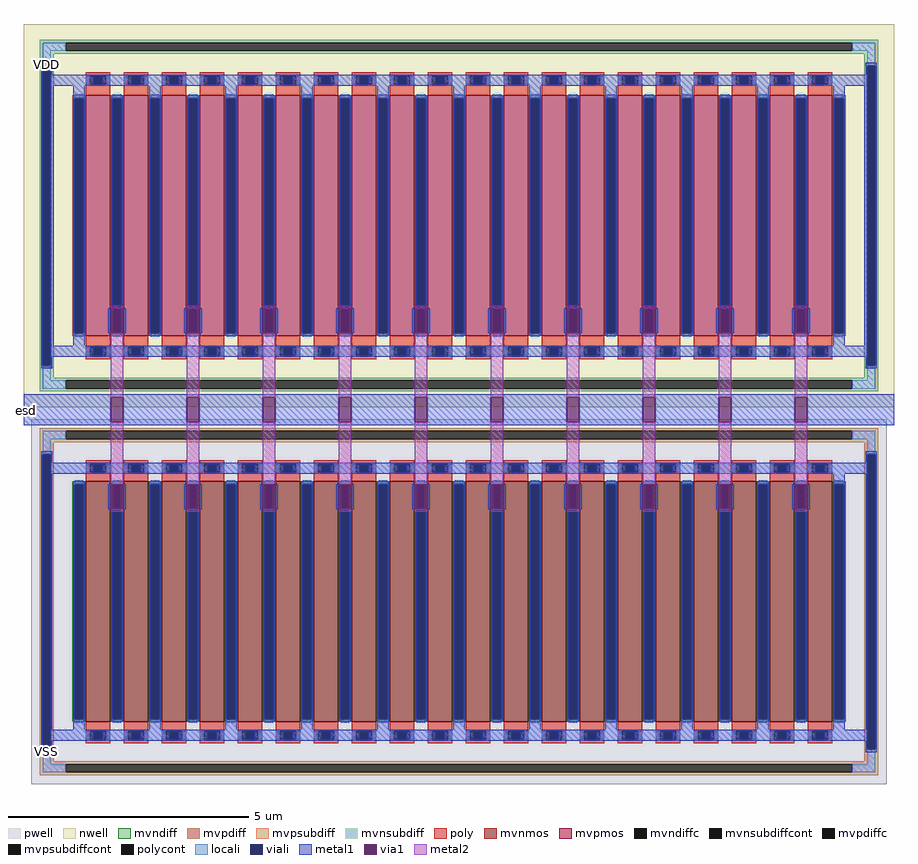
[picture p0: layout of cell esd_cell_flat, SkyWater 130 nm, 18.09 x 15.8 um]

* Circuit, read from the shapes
.subckt esd_cell_flat esd VDD VSS
XM1 esd VSS VSS VSS sky130_fd_pr__nfet_g5v0d10v5 w=5 l=0.5 m=20
XM2 esd VDD VDD VDD sky130_fd_pr__pfet_g5v0d10v5 w=5 l=0.5 m=20
.ends

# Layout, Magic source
magic
tech sky130A
magscale 1 2
<< nwell >>
rect -65 1501 3553 3095
<< pwell >>
rect -35 -65 3523 1451
<< mvnmos >>
rect 193 193 293 1193
rect 351 193 451 1193
rect 509 193 609 1193
rect 667 193 767 1193
rect 825 193 925 1193
rect 983 193 1083 1193
rect 1141 193 1241 1193
rect 1299 193 1399 1193
rect 1457 193 1557 1193
rect 1615 193 1715 1193
rect 1773 193 1873 1193
rect 1931 193 2031 1193
rect 2089 193 2189 1193
rect 2247 193 2347 1193
rect 2405 193 2505 1193
rect 2563 193 2663 1193
rect 2721 193 2821 1193
rect 2879 193 2979 1193
rect 3037 193 3137 1193
rect 3195 193 3295 1193
<< mvpmos >>
rect 193 1798 293 2798
rect 351 1798 451 2798
rect 509 1798 609 2798
rect 667 1798 767 2798
rect 825 1798 925 2798
rect 983 1798 1083 2798
rect 1141 1798 1241 2798
rect 1299 1798 1399 2798
rect 1457 1798 1557 2798
rect 1615 1798 1715 2798
rect 1773 1798 1873 2798
rect 1931 1798 2031 2798
rect 2089 1798 2189 2798
rect 2247 1798 2347 2798
rect 2405 1798 2505 2798
rect 2563 1798 2663 2798
rect 2721 1798 2821 2798
rect 2879 1798 2979 2798
rect 3037 1798 3137 2798
rect 3195 1798 3295 2798
<< mvndiff >>
rect 135 1181 193 1193
rect 135 205 147 1181
rect 181 205 193 1181
rect 135 193 193 205
rect 293 1181 351 1193
rect 293 205 305 1181
rect 339 205 351 1181
rect 293 193 351 205
rect 451 1181 509 1193
rect 451 205 463 1181
rect 497 205 509 1181
rect 451 193 509 205
rect 609 1181 667 1193
rect 609 205 621 1181
rect 655 205 667 1181
rect 609 193 667 205
rect 767 1181 825 1193
rect 767 205 779 1181
rect 813 205 825 1181
rect 767 193 825 205
rect 925 1181 983 1193
rect 925 205 937 1181
rect 971 205 983 1181
rect 925 193 983 205
rect 1083 1181 1141 1193
rect 1083 205 1095 1181
rect 1129 205 1141 1181
rect 1083 193 1141 205
rect 1241 1181 1299 1193
rect 1241 205 1253 1181
rect 1287 205 1299 1181
rect 1241 193 1299 205
rect 1399 1181 1457 1193
rect 1399 205 1411 1181
rect 1445 205 1457 1181
rect 1399 193 1457 205
rect 1557 1181 1615 1193
rect 1557 205 1569 1181
rect 1603 205 1615 1181
rect 1557 193 1615 205
rect 1715 1181 1773 1193
rect 1715 205 1727 1181
rect 1761 205 1773 1181
rect 1715 193 1773 205
rect 1873 1181 1931 1193
rect 1873 205 1885 1181
rect 1919 205 1931 1181
rect 1873 193 1931 205
rect 2031 1181 2089 1193
rect 2031 205 2043 1181
rect 2077 205 2089 1181
rect 2031 193 2089 205
rect 2189 1181 2247 1193
rect 2189 205 2201 1181
rect 2235 205 2247 1181
rect 2189 193 2247 205
rect 2347 1181 2405 1193
rect 2347 205 2359 1181
rect 2393 205 2405 1181
rect 2347 193 2405 205
rect 2505 1181 2563 1193
rect 2505 205 2517 1181
rect 2551 205 2563 1181
rect 2505 193 2563 205
rect 2663 1181 2721 1193
rect 2663 205 2675 1181
rect 2709 205 2721 1181
rect 2663 193 2721 205
rect 2821 1181 2879 1193
rect 2821 205 2833 1181
rect 2867 205 2879 1181
rect 2821 193 2879 205
rect 2979 1181 3037 1193
rect 2979 205 2991 1181
rect 3025 205 3037 1181
rect 2979 193 3037 205
rect 3137 1181 3195 1193
rect 3137 205 3149 1181
rect 3183 205 3195 1181
rect 3137 193 3195 205
rect 3295 1181 3353 1193
rect 3295 205 3307 1181
rect 3341 205 3353 1181
rect 3295 193 3353 205
<< mvpdiff >>
rect 135 2786 193 2798
rect 135 1810 147 2786
rect 181 1810 193 2786
rect 135 1798 193 1810
rect 293 2786 351 2798
rect 293 1810 305 2786
rect 339 1810 351 2786
rect 293 1798 351 1810
rect 451 2786 509 2798
rect 451 1810 463 2786
rect 497 1810 509 2786
rect 451 1798 509 1810
rect 609 2786 667 2798
rect 609 1810 621 2786
rect 655 1810 667 2786
rect 609 1798 667 1810
rect 767 2786 825 2798
rect 767 1810 779 2786
rect 813 1810 825 2786
rect 767 1798 825 1810
rect 925 2786 983 2798
rect 925 1810 937 2786
rect 971 1810 983 2786
rect 925 1798 983 1810
rect 1083 2786 1141 2798
rect 1083 1810 1095 2786
rect 1129 1810 1141 2786
rect 1083 1798 1141 1810
rect 1241 2786 1299 2798
rect 1241 1810 1253 2786
rect 1287 1810 1299 2786
rect 1241 1798 1299 1810
rect 1399 2786 1457 2798
rect 1399 1810 1411 2786
rect 1445 1810 1457 2786
rect 1399 1798 1457 1810
rect 1557 2786 1615 2798
rect 1557 1810 1569 2786
rect 1603 1810 1615 2786
rect 1557 1798 1615 1810
rect 1715 2786 1773 2798
rect 1715 1810 1727 2786
rect 1761 1810 1773 2786
rect 1715 1798 1773 1810
rect 1873 2786 1931 2798
rect 1873 1810 1885 2786
rect 1919 1810 1931 2786
rect 1873 1798 1931 1810
rect 2031 2786 2089 2798
rect 2031 1810 2043 2786
rect 2077 1810 2089 2786
rect 2031 1798 2089 1810
rect 2189 2786 2247 2798
rect 2189 1810 2201 2786
rect 2235 1810 2247 2786
rect 2189 1798 2247 1810
rect 2347 2786 2405 2798
rect 2347 1810 2359 2786
rect 2393 1810 2405 2786
rect 2347 1798 2405 1810
rect 2505 2786 2563 2798
rect 2505 1810 2517 2786
rect 2551 1810 2563 2786
rect 2505 1798 2563 1810
rect 2663 2786 2721 2798
rect 2663 1810 2675 2786
rect 2709 1810 2721 2786
rect 2663 1798 2721 1810
rect 2821 2786 2879 2798
rect 2821 1810 2833 2786
rect 2867 1810 2879 2786
rect 2821 1798 2879 1810
rect 2979 2786 3037 2798
rect 2979 1810 2991 2786
rect 3025 1810 3037 2786
rect 2979 1798 3037 1810
rect 3137 2786 3195 2798
rect 3137 1810 3149 2786
rect 3183 1810 3195 2786
rect 3137 1798 3195 1810
rect 3295 2786 3353 2798
rect 3295 1810 3307 2786
rect 3341 1810 3353 2786
rect 3295 1798 3353 1810
<< mvndiffc >>
rect 147 205 181 1181
rect 305 205 339 1181
rect 463 205 497 1181
rect 621 205 655 1181
rect 779 205 813 1181
rect 937 205 971 1181
rect 1095 205 1129 1181
rect 1253 205 1287 1181
rect 1411 205 1445 1181
rect 1569 205 1603 1181
rect 1727 205 1761 1181
rect 1885 205 1919 1181
rect 2043 205 2077 1181
rect 2201 205 2235 1181
rect 2359 205 2393 1181
rect 2517 205 2551 1181
rect 2675 205 2709 1181
rect 2833 205 2867 1181
rect 2991 205 3025 1181
rect 3149 205 3183 1181
rect 3307 205 3341 1181
<< mvpdiffc >>
rect 147 1810 181 2786
rect 305 1810 339 2786
rect 463 1810 497 2786
rect 621 1810 655 2786
rect 779 1810 813 2786
rect 937 1810 971 2786
rect 1095 1810 1129 2786
rect 1253 1810 1287 2786
rect 1411 1810 1445 2786
rect 1569 1810 1603 2786
rect 1727 1810 1761 2786
rect 1885 1810 1919 2786
rect 2043 1810 2077 2786
rect 2201 1810 2235 2786
rect 2359 1810 2393 2786
rect 2517 1810 2551 2786
rect 2675 1810 2709 2786
rect 2833 1810 2867 2786
rect 2991 1810 3025 2786
rect 3149 1810 3183 2786
rect 3307 1810 3341 2786
<< mvpsubdiff >>
rect 1 1403 3487 1415
rect 1 1369 109 1403
rect 3379 1369 3487 1403
rect 1 1357 3487 1369
rect 1 1307 59 1357
rect 1 79 13 1307
rect 47 79 59 1307
rect 3429 1307 3487 1357
rect 1 29 59 79
rect 3429 79 3441 1307
rect 3475 79 3487 1307
rect 3429 29 3487 79
rect 1 17 3487 29
rect 1 -17 109 17
rect 3379 -17 3487 17
rect 1 -29 3487 -17
<< mvnsubdiff >>
rect 1 3017 3487 3029
rect 1 2983 109 3017
rect 3379 2983 3487 3017
rect 1 2971 3487 2983
rect 1 2921 59 2971
rect 1 1675 13 2921
rect 47 1675 59 2921
rect 3429 2921 3487 2971
rect 1 1625 59 1675
rect 3429 1675 3441 2921
rect 3475 1675 3487 2921
rect 3429 1625 3487 1675
rect 1 1613 3487 1625
rect 1 1579 109 1613
rect 3379 1579 3487 1613
rect 1 1567 3487 1579
<< mvpsubdiffcont >>
rect 109 1369 3379 1403
rect 13 79 47 1307
rect 3441 79 3475 1307
rect 109 -17 3379 17
<< mvnsubdiffcont >>
rect 109 2983 3379 3017
rect 13 1675 47 2921
rect 3441 1675 3475 2921
rect 109 1579 3379 1613
<< poly >>
rect 193 2879 293 2895
rect 193 2845 209 2879
rect 277 2845 293 2879
rect 193 2798 293 2845
rect 351 2879 451 2895
rect 351 2845 367 2879
rect 435 2845 451 2879
rect 351 2798 451 2845
rect 509 2879 609 2895
rect 509 2845 525 2879
rect 593 2845 609 2879
rect 509 2798 609 2845
rect 667 2879 767 2895
rect 667 2845 683 2879
rect 751 2845 767 2879
rect 667 2798 767 2845
rect 825 2879 925 2895
rect 825 2845 841 2879
rect 909 2845 925 2879
rect 825 2798 925 2845
rect 983 2879 1083 2895
rect 983 2845 999 2879
rect 1067 2845 1083 2879
rect 983 2798 1083 2845
rect 1141 2879 1241 2895
rect 1141 2845 1157 2879
rect 1225 2845 1241 2879
rect 1141 2798 1241 2845
rect 1299 2879 1399 2895
rect 1299 2845 1315 2879
rect 1383 2845 1399 2879
rect 1299 2798 1399 2845
rect 1457 2879 1557 2895
rect 1457 2845 1473 2879
rect 1541 2845 1557 2879
rect 1457 2798 1557 2845
rect 1615 2879 1715 2895
rect 1615 2845 1631 2879
rect 1699 2845 1715 2879
rect 1615 2798 1715 2845
rect 1773 2879 1873 2895
rect 1773 2845 1789 2879
rect 1857 2845 1873 2879
rect 1773 2798 1873 2845
rect 1931 2879 2031 2895
rect 1931 2845 1947 2879
rect 2015 2845 2031 2879
rect 1931 2798 2031 2845
rect 2089 2879 2189 2895
rect 2089 2845 2105 2879
rect 2173 2845 2189 2879
rect 2089 2798 2189 2845
rect 2247 2879 2347 2895
rect 2247 2845 2263 2879
rect 2331 2845 2347 2879
rect 2247 2798 2347 2845
rect 2405 2879 2505 2895
rect 2405 2845 2421 2879
rect 2489 2845 2505 2879
rect 2405 2798 2505 2845
rect 2563 2879 2663 2895
rect 2563 2845 2579 2879
rect 2647 2845 2663 2879
rect 2563 2798 2663 2845
rect 2721 2879 2821 2895
rect 2721 2845 2737 2879
rect 2805 2845 2821 2879
rect 2721 2798 2821 2845
rect 2879 2879 2979 2895
rect 2879 2845 2895 2879
rect 2963 2845 2979 2879
rect 2879 2798 2979 2845
rect 3037 2879 3137 2895
rect 3037 2845 3053 2879
rect 3121 2845 3137 2879
rect 3037 2798 3137 2845
rect 3195 2879 3295 2895
rect 3195 2845 3211 2879
rect 3279 2845 3295 2879
rect 3195 2798 3295 2845
rect 193 1751 293 1798
rect 193 1717 209 1751
rect 277 1717 293 1751
rect 193 1701 293 1717
rect 351 1751 451 1798
rect 351 1717 367 1751
rect 435 1717 451 1751
rect 351 1701 451 1717
rect 509 1751 609 1798
rect 509 1717 525 1751
rect 593 1717 609 1751
rect 509 1701 609 1717
rect 667 1751 767 1798
rect 667 1717 683 1751
rect 751 1717 767 1751
rect 667 1701 767 1717
rect 825 1751 925 1798
rect 825 1717 841 1751
rect 909 1717 925 1751
rect 825 1701 925 1717
rect 983 1751 1083 1798
rect 983 1717 999 1751
rect 1067 1717 1083 1751
rect 983 1701 1083 1717
rect 1141 1751 1241 1798
rect 1141 1717 1157 1751
rect 1225 1717 1241 1751
rect 1141 1701 1241 1717
rect 1299 1751 1399 1798
rect 1299 1717 1315 1751
rect 1383 1717 1399 1751
rect 1299 1701 1399 1717
rect 1457 1751 1557 1798
rect 1457 1717 1473 1751
rect 1541 1717 1557 1751
rect 1457 1701 1557 1717
rect 1615 1751 1715 1798
rect 1615 1717 1631 1751
rect 1699 1717 1715 1751
rect 1615 1701 1715 1717
rect 1773 1751 1873 1798
rect 1773 1717 1789 1751
rect 1857 1717 1873 1751
rect 1773 1701 1873 1717
rect 1931 1751 2031 1798
rect 1931 1717 1947 1751
rect 2015 1717 2031 1751
rect 1931 1701 2031 1717
rect 2089 1751 2189 1798
rect 2089 1717 2105 1751
rect 2173 1717 2189 1751
rect 2089 1701 2189 1717
rect 2247 1751 2347 1798
rect 2247 1717 2263 1751
rect 2331 1717 2347 1751
rect 2247 1701 2347 1717
rect 2405 1751 2505 1798
rect 2405 1717 2421 1751
rect 2489 1717 2505 1751
rect 2405 1701 2505 1717
rect 2563 1751 2663 1798
rect 2563 1717 2579 1751
rect 2647 1717 2663 1751
rect 2563 1701 2663 1717
rect 2721 1751 2821 1798
rect 2721 1717 2737 1751
rect 2805 1717 2821 1751
rect 2721 1701 2821 1717
rect 2879 1751 2979 1798
rect 2879 1717 2895 1751
rect 2963 1717 2979 1751
rect 2879 1701 2979 1717
rect 3037 1751 3137 1798
rect 3037 1717 3053 1751
rect 3121 1717 3137 1751
rect 3037 1701 3137 1717
rect 3195 1751 3295 1798
rect 3195 1717 3211 1751
rect 3279 1717 3295 1751
rect 3195 1701 3295 1717
rect 193 1265 293 1281
rect 193 1231 209 1265
rect 277 1231 293 1265
rect 193 1193 293 1231
rect 351 1265 451 1281
rect 351 1231 367 1265
rect 435 1231 451 1265
rect 351 1193 451 1231
rect 509 1265 609 1281
rect 509 1231 525 1265
rect 593 1231 609 1265
rect 509 1193 609 1231
rect 667 1265 767 1281
rect 667 1231 683 1265
rect 751 1231 767 1265
rect 667 1193 767 1231
rect 825 1265 925 1281
rect 825 1231 841 1265
rect 909 1231 925 1265
rect 825 1193 925 1231
rect 983 1265 1083 1281
rect 983 1231 999 1265
rect 1067 1231 1083 1265
rect 983 1193 1083 1231
rect 1141 1265 1241 1281
rect 1141 1231 1157 1265
rect 1225 1231 1241 1265
rect 1141 1193 1241 1231
rect 1299 1265 1399 1281
rect 1299 1231 1315 1265
rect 1383 1231 1399 1265
rect 1299 1193 1399 1231
rect 1457 1265 1557 1281
rect 1457 1231 1473 1265
rect 1541 1231 1557 1265
rect 1457 1193 1557 1231
rect 1615 1265 1715 1281
rect 1615 1231 1631 1265
rect 1699 1231 1715 1265
rect 1615 1193 1715 1231
rect 1773 1265 1873 1281
rect 1773 1231 1789 1265
rect 1857 1231 1873 1265
rect 1773 1193 1873 1231
rect 1931 1265 2031 1281
rect 1931 1231 1947 1265
rect 2015 1231 2031 1265
rect 1931 1193 2031 1231
rect 2089 1265 2189 1281
rect 2089 1231 2105 1265
rect 2173 1231 2189 1265
rect 2089 1193 2189 1231
rect 2247 1265 2347 1281
rect 2247 1231 2263 1265
rect 2331 1231 2347 1265
rect 2247 1193 2347 1231
rect 2405 1265 2505 1281
rect 2405 1231 2421 1265
rect 2489 1231 2505 1265
rect 2405 1193 2505 1231
rect 2563 1265 2663 1281
rect 2563 1231 2579 1265
rect 2647 1231 2663 1265
rect 2563 1193 2663 1231
rect 2721 1265 2821 1281
rect 2721 1231 2737 1265
rect 2805 1231 2821 1265
rect 2721 1193 2821 1231
rect 2879 1265 2979 1281
rect 2879 1231 2895 1265
rect 2963 1231 2979 1265
rect 2879 1193 2979 1231
rect 3037 1265 3137 1281
rect 3037 1231 3053 1265
rect 3121 1231 3137 1265
rect 3037 1193 3137 1231
rect 3195 1265 3295 1281
rect 3195 1231 3211 1265
rect 3279 1231 3295 1265
rect 3195 1193 3295 1231
rect 193 155 293 193
rect 193 121 209 155
rect 277 121 293 155
rect 193 105 293 121
rect 351 155 451 193
rect 351 121 367 155
rect 435 121 451 155
rect 351 105 451 121
rect 509 155 609 193
rect 509 121 525 155
rect 593 121 609 155
rect 509 105 609 121
rect 667 155 767 193
rect 667 121 683 155
rect 751 121 767 155
rect 667 105 767 121
rect 825 155 925 193
rect 825 121 841 155
rect 909 121 925 155
rect 825 105 925 121
rect 983 155 1083 193
rect 983 121 999 155
rect 1067 121 1083 155
rect 983 105 1083 121
rect 1141 155 1241 193
rect 1141 121 1157 155
rect 1225 121 1241 155
rect 1141 105 1241 121
rect 1299 155 1399 193
rect 1299 121 1315 155
rect 1383 121 1399 155
rect 1299 105 1399 121
rect 1457 155 1557 193
rect 1457 121 1473 155
rect 1541 121 1557 155
rect 1457 105 1557 121
rect 1615 155 1715 193
rect 1615 121 1631 155
rect 1699 121 1715 155
rect 1615 105 1715 121
rect 1773 155 1873 193
rect 1773 121 1789 155
rect 1857 121 1873 155
rect 1773 105 1873 121
rect 1931 155 2031 193
rect 1931 121 1947 155
rect 2015 121 2031 155
rect 1931 105 2031 121
rect 2089 155 2189 193
rect 2089 121 2105 155
rect 2173 121 2189 155
rect 2089 105 2189 121
rect 2247 155 2347 193
rect 2247 121 2263 155
rect 2331 121 2347 155
rect 2247 105 2347 121
rect 2405 155 2505 193
rect 2405 121 2421 155
rect 2489 121 2505 155
rect 2405 105 2505 121
rect 2563 155 2663 193
rect 2563 121 2579 155
rect 2647 121 2663 155
rect 2563 105 2663 121
rect 2721 155 2821 193
rect 2721 121 2737 155
rect 2805 121 2821 155
rect 2721 105 2821 121
rect 2879 155 2979 193
rect 2879 121 2895 155
rect 2963 121 2979 155
rect 2879 105 2979 121
rect 3037 155 3137 193
rect 3037 121 3053 155
rect 3121 121 3137 155
rect 3037 105 3137 121
rect 3195 155 3295 193
rect 3195 121 3211 155
rect 3279 121 3295 155
rect 3195 105 3295 121
<< polycont >>
rect 209 2845 277 2879
rect 367 2845 435 2879
rect 525 2845 593 2879
rect 683 2845 751 2879
rect 841 2845 909 2879
rect 999 2845 1067 2879
rect 1157 2845 1225 2879
rect 1315 2845 1383 2879
rect 1473 2845 1541 2879
rect 1631 2845 1699 2879
rect 1789 2845 1857 2879
rect 1947 2845 2015 2879
rect 2105 2845 2173 2879
rect 2263 2845 2331 2879
rect 2421 2845 2489 2879
rect 2579 2845 2647 2879
rect 2737 2845 2805 2879
rect 2895 2845 2963 2879
rect 3053 2845 3121 2879
rect 3211 2845 3279 2879
rect 209 1717 277 1751
rect 367 1717 435 1751
rect 525 1717 593 1751
rect 683 1717 751 1751
rect 841 1717 909 1751
rect 999 1717 1067 1751
rect 1157 1717 1225 1751
rect 1315 1717 1383 1751
rect 1473 1717 1541 1751
rect 1631 1717 1699 1751
rect 1789 1717 1857 1751
rect 1947 1717 2015 1751
rect 2105 1717 2173 1751
rect 2263 1717 2331 1751
rect 2421 1717 2489 1751
rect 2579 1717 2647 1751
rect 2737 1717 2805 1751
rect 2895 1717 2963 1751
rect 3053 1717 3121 1751
rect 3211 1717 3279 1751
rect 209 1231 277 1265
rect 367 1231 435 1265
rect 525 1231 593 1265
rect 683 1231 751 1265
rect 841 1231 909 1265
rect 999 1231 1067 1265
rect 1157 1231 1225 1265
rect 1315 1231 1383 1265
rect 1473 1231 1541 1265
rect 1631 1231 1699 1265
rect 1789 1231 1857 1265
rect 1947 1231 2015 1265
rect 2105 1231 2173 1265
rect 2263 1231 2331 1265
rect 2421 1231 2489 1265
rect 2579 1231 2647 1265
rect 2737 1231 2805 1265
rect 2895 1231 2963 1265
rect 3053 1231 3121 1265
rect 3211 1231 3279 1265
rect 209 121 277 155
rect 367 121 435 155
rect 525 121 593 155
rect 683 121 751 155
rect 841 121 909 155
rect 999 121 1067 155
rect 1157 121 1225 155
rect 1315 121 1383 155
rect 1473 121 1541 155
rect 1631 121 1699 155
rect 1789 121 1857 155
rect 1947 121 2015 155
rect 2105 121 2173 155
rect 2263 121 2331 155
rect 2421 121 2489 155
rect 2579 121 2647 155
rect 2737 121 2805 155
rect 2895 121 2963 155
rect 3053 121 3121 155
rect 3211 121 3279 155
<< locali >>
rect 13 2983 109 3017
rect 3379 2983 3475 3017
rect 13 2921 47 2983
rect 3441 2921 3475 2983
rect 193 2845 209 2879
rect 277 2845 293 2879
rect 351 2845 367 2879
rect 435 2845 451 2879
rect 509 2845 525 2879
rect 593 2845 609 2879
rect 667 2845 683 2879
rect 751 2845 767 2879
rect 825 2845 841 2879
rect 909 2845 925 2879
rect 983 2845 999 2879
rect 1067 2845 1083 2879
rect 1141 2845 1157 2879
rect 1225 2845 1241 2879
rect 1299 2845 1315 2879
rect 1383 2845 1399 2879
rect 1457 2845 1473 2879
rect 1541 2845 1557 2879
rect 1615 2845 1631 2879
rect 1699 2845 1715 2879
rect 1773 2845 1789 2879
rect 1857 2845 1873 2879
rect 1931 2845 1947 2879
rect 2015 2845 2031 2879
rect 2089 2845 2105 2879
rect 2173 2845 2189 2879
rect 2247 2845 2263 2879
rect 2331 2845 2347 2879
rect 2405 2845 2421 2879
rect 2489 2845 2505 2879
rect 2563 2845 2579 2879
rect 2647 2845 2663 2879
rect 2721 2845 2737 2879
rect 2805 2845 2821 2879
rect 2879 2845 2895 2879
rect 2963 2845 2979 2879
rect 3037 2845 3053 2879
rect 3121 2845 3137 2879
rect 3195 2845 3211 2879
rect 3279 2845 3295 2879
rect 147 2786 181 2802
rect 147 1794 181 1810
rect 305 2786 339 2802
rect 305 1794 339 1810
rect 463 2786 497 2802
rect 463 1794 497 1810
rect 621 2786 655 2802
rect 621 1794 655 1810
rect 779 2786 813 2802
rect 779 1794 813 1810
rect 937 2786 971 2802
rect 937 1794 971 1810
rect 1095 2786 1129 2802
rect 1095 1794 1129 1810
rect 1253 2786 1287 2802
rect 1253 1794 1287 1810
rect 1411 2786 1445 2802
rect 1411 1794 1445 1810
rect 1569 2786 1603 2802
rect 1569 1794 1603 1810
rect 1727 2786 1761 2802
rect 1727 1794 1761 1810
rect 1885 2786 1919 2802
rect 1885 1794 1919 1810
rect 2043 2786 2077 2802
rect 2043 1794 2077 1810
rect 2201 2786 2235 2802
rect 2201 1794 2235 1810
rect 2359 2786 2393 2802
rect 2359 1794 2393 1810
rect 2517 2786 2551 2802
rect 2517 1794 2551 1810
rect 2675 2786 2709 2802
rect 2675 1794 2709 1810
rect 2833 2786 2867 2802
rect 2833 1794 2867 1810
rect 2991 2786 3025 2802
rect 2991 1794 3025 1810
rect 3149 2786 3183 2802
rect 3149 1794 3183 1810
rect 3307 2786 3341 2802
rect 3307 1794 3341 1810
rect 193 1717 209 1751
rect 277 1717 293 1751
rect 351 1717 367 1751
rect 435 1717 451 1751
rect 509 1717 525 1751
rect 593 1717 609 1751
rect 667 1717 683 1751
rect 751 1717 767 1751
rect 825 1717 841 1751
rect 909 1717 925 1751
rect 983 1717 999 1751
rect 1067 1717 1083 1751
rect 1141 1717 1157 1751
rect 1225 1717 1241 1751
rect 1299 1717 1315 1751
rect 1383 1717 1399 1751
rect 1457 1717 1473 1751
rect 1541 1717 1557 1751
rect 1615 1717 1631 1751
rect 1699 1717 1715 1751
rect 1773 1717 1789 1751
rect 1857 1717 1873 1751
rect 1931 1717 1947 1751
rect 2015 1717 2031 1751
rect 2089 1717 2105 1751
rect 2173 1717 2189 1751
rect 2247 1717 2263 1751
rect 2331 1717 2347 1751
rect 2405 1717 2421 1751
rect 2489 1717 2505 1751
rect 2563 1717 2579 1751
rect 2647 1717 2663 1751
rect 2721 1717 2737 1751
rect 2805 1717 2821 1751
rect 2879 1717 2895 1751
rect 2963 1717 2979 1751
rect 3037 1717 3053 1751
rect 3121 1717 3137 1751
rect 3195 1717 3211 1751
rect 3279 1717 3295 1751
rect 13 1613 47 1675
rect 3441 1613 3475 1675
rect 13 1579 109 1613
rect 3379 1579 3475 1613
rect 13 1369 109 1403
rect 3379 1369 3475 1403
rect 13 1307 47 1369
rect 3441 1307 3475 1369
rect 193 1231 209 1265
rect 277 1231 293 1265
rect 351 1231 367 1265
rect 435 1231 451 1265
rect 509 1231 525 1265
rect 593 1231 609 1265
rect 667 1231 683 1265
rect 751 1231 767 1265
rect 825 1231 841 1265
rect 909 1231 925 1265
rect 983 1231 999 1265
rect 1067 1231 1083 1265
rect 1141 1231 1157 1265
rect 1225 1231 1241 1265
rect 1299 1231 1315 1265
rect 1383 1231 1399 1265
rect 1457 1231 1473 1265
rect 1541 1231 1557 1265
rect 1615 1231 1631 1265
rect 1699 1231 1715 1265
rect 1773 1231 1789 1265
rect 1857 1231 1873 1265
rect 1931 1231 1947 1265
rect 2015 1231 2031 1265
rect 2089 1231 2105 1265
rect 2173 1231 2189 1265
rect 2247 1231 2263 1265
rect 2331 1231 2347 1265
rect 2405 1231 2421 1265
rect 2489 1231 2505 1265
rect 2563 1231 2579 1265
rect 2647 1231 2663 1265
rect 2721 1231 2737 1265
rect 2805 1231 2821 1265
rect 2879 1231 2895 1265
rect 2963 1231 2979 1265
rect 3037 1231 3053 1265
rect 3121 1231 3137 1265
rect 3195 1231 3211 1265
rect 3279 1231 3295 1265
rect 147 1181 181 1197
rect 147 189 181 205
rect 305 1181 339 1197
rect 305 189 339 205
rect 463 1181 497 1197
rect 463 189 497 205
rect 621 1181 655 1197
rect 621 189 655 205
rect 779 1181 813 1197
rect 779 189 813 205
rect 937 1181 971 1197
rect 937 189 971 205
rect 1095 1181 1129 1197
rect 1095 189 1129 205
rect 1253 1181 1287 1197
rect 1253 189 1287 205
rect 1411 1181 1445 1197
rect 1411 189 1445 205
rect 1569 1181 1603 1197
rect 1569 189 1603 205
rect 1727 1181 1761 1197
rect 1727 189 1761 205
rect 1885 1181 1919 1197
rect 1885 189 1919 205
rect 2043 1181 2077 1197
rect 2043 189 2077 205
rect 2201 1181 2235 1197
rect 2201 189 2235 205
rect 2359 1181 2393 1197
rect 2359 189 2393 205
rect 2517 1181 2551 1197
rect 2517 189 2551 205
rect 2675 1181 2709 1197
rect 2675 189 2709 205
rect 2833 1181 2867 1197
rect 2833 189 2867 205
rect 2991 1181 3025 1197
rect 2991 189 3025 205
rect 3149 1181 3183 1197
rect 3149 189 3183 205
rect 3307 1181 3341 1197
rect 3307 189 3341 205
rect 193 121 209 155
rect 277 121 293 155
rect 351 121 367 155
rect 435 121 451 155
rect 509 121 525 155
rect 593 121 609 155
rect 667 121 683 155
rect 751 121 767 155
rect 825 121 841 155
rect 909 121 925 155
rect 983 121 999 155
rect 1067 121 1083 155
rect 1141 121 1157 155
rect 1225 121 1241 155
rect 1299 121 1315 155
rect 1383 121 1399 155
rect 1457 121 1473 155
rect 1541 121 1557 155
rect 1615 121 1631 155
rect 1699 121 1715 155
rect 1773 121 1789 155
rect 1857 121 1873 155
rect 1931 121 1947 155
rect 2015 121 2031 155
rect 2089 121 2105 155
rect 2173 121 2189 155
rect 2247 121 2263 155
rect 2331 121 2347 155
rect 2405 121 2421 155
rect 2489 121 2505 155
rect 2563 121 2579 155
rect 2647 121 2663 155
rect 2721 121 2737 155
rect 2805 121 2821 155
rect 2879 121 2895 155
rect 2963 121 2979 155
rect 3037 121 3053 155
rect 3121 121 3137 155
rect 3195 121 3211 155
rect 3279 121 3295 155
rect 13 17 47 79
rect 3441 17 3475 79
rect 13 -17 109 17
rect 3379 -17 3475 17
<< viali >>
rect 13 1675 47 2921
rect 226 2845 260 2879
rect 384 2845 418 2879
rect 542 2845 576 2879
rect 700 2845 734 2879
rect 858 2845 892 2879
rect 1016 2845 1050 2879
rect 1174 2845 1208 2879
rect 1332 2845 1366 2879
rect 1490 2845 1524 2879
rect 1648 2845 1682 2879
rect 1806 2845 1840 2879
rect 1964 2845 1998 2879
rect 2122 2845 2156 2879
rect 2280 2845 2314 2879
rect 2438 2845 2472 2879
rect 2596 2845 2630 2879
rect 2754 2845 2788 2879
rect 2912 2845 2946 2879
rect 3070 2845 3104 2879
rect 3228 2845 3262 2879
rect 147 1810 181 2786
rect 305 1810 339 2786
rect 463 1810 497 2786
rect 621 1810 655 2786
rect 779 1810 813 2786
rect 937 1810 971 2786
rect 1095 1810 1129 2786
rect 1253 1810 1287 2786
rect 1411 1810 1445 2786
rect 1569 1810 1603 2786
rect 1727 1810 1761 2786
rect 1885 1810 1919 2786
rect 2043 1810 2077 2786
rect 2201 1810 2235 2786
rect 2359 1810 2393 2786
rect 2517 1810 2551 2786
rect 2675 1810 2709 2786
rect 2833 1810 2867 2786
rect 2991 1810 3025 2786
rect 3149 1810 3183 2786
rect 3307 1810 3341 2786
rect 226 1717 260 1751
rect 384 1717 418 1751
rect 542 1717 576 1751
rect 700 1717 734 1751
rect 858 1717 892 1751
rect 1016 1717 1050 1751
rect 1174 1717 1208 1751
rect 1332 1717 1366 1751
rect 1490 1717 1524 1751
rect 1648 1717 1682 1751
rect 1806 1717 1840 1751
rect 1964 1717 1998 1751
rect 2122 1717 2156 1751
rect 2280 1717 2314 1751
rect 2438 1717 2472 1751
rect 2596 1717 2630 1751
rect 2754 1717 2788 1751
rect 2912 1717 2946 1751
rect 3070 1717 3104 1751
rect 3228 1717 3262 1751
rect 3441 1675 3475 2921
rect 13 79 47 1307
rect 226 1231 260 1265
rect 384 1231 418 1265
rect 542 1231 576 1265
rect 700 1231 734 1265
rect 858 1231 892 1265
rect 1016 1231 1050 1265
rect 1174 1231 1208 1265
rect 1332 1231 1366 1265
rect 1490 1231 1524 1265
rect 1648 1231 1682 1265
rect 1806 1231 1840 1265
rect 1964 1231 1998 1265
rect 2122 1231 2156 1265
rect 2280 1231 2314 1265
rect 2438 1231 2472 1265
rect 2596 1231 2630 1265
rect 2754 1231 2788 1265
rect 2912 1231 2946 1265
rect 3070 1231 3104 1265
rect 3228 1231 3262 1265
rect 147 205 181 1181
rect 305 205 339 1181
rect 463 205 497 1181
rect 621 205 655 1181
rect 779 205 813 1181
rect 937 205 971 1181
rect 1095 205 1129 1181
rect 1253 205 1287 1181
rect 1411 205 1445 1181
rect 1569 205 1603 1181
rect 1727 205 1761 1181
rect 1885 205 1919 1181
rect 2043 205 2077 1181
rect 2201 205 2235 1181
rect 2359 205 2393 1181
rect 2517 205 2551 1181
rect 2675 205 2709 1181
rect 2833 205 2867 1181
rect 2991 205 3025 1181
rect 3149 205 3183 1181
rect 3307 205 3341 1181
rect 226 121 260 155
rect 384 121 418 155
rect 542 121 576 155
rect 700 121 734 155
rect 858 121 892 155
rect 1016 121 1050 155
rect 1174 121 1208 155
rect 1332 121 1366 155
rect 1490 121 1524 155
rect 1648 121 1682 155
rect 1806 121 1840 155
rect 1964 121 1998 155
rect 2122 121 2156 155
rect 2280 121 2314 155
rect 2438 121 2472 155
rect 2596 121 2630 155
rect 2754 121 2788 155
rect 2912 121 2946 155
rect 3070 121 3104 155
rect 3228 121 3262 155
rect 3441 79 3475 1307
<< metal1 >>
rect 7 2921 53 2933
rect 7 1675 13 2921
rect 47 2885 53 2921
rect 3435 2921 3481 2933
rect 3435 2885 3441 2921
rect 47 2879 3441 2885
rect 47 2845 226 2879
rect 260 2845 384 2879
rect 418 2845 542 2879
rect 576 2845 700 2879
rect 734 2845 858 2879
rect 892 2845 1016 2879
rect 1050 2845 1174 2879
rect 1208 2845 1332 2879
rect 1366 2845 1490 2879
rect 1524 2845 1648 2879
rect 1682 2845 1806 2879
rect 1840 2845 1964 2879
rect 1998 2845 2122 2879
rect 2156 2845 2280 2879
rect 2314 2845 2438 2879
rect 2472 2845 2596 2879
rect 2630 2845 2754 2879
rect 2788 2845 2912 2879
rect 2946 2845 3070 2879
rect 3104 2845 3228 2879
rect 3262 2845 3441 2879
rect 47 2839 3441 2845
rect 47 1757 59 2839
rect 141 2786 187 2839
rect 141 1810 147 2786
rect 181 1810 187 2786
rect 299 2786 345 2798
rect 299 1914 305 2786
rect 339 1914 345 2786
rect 457 2786 503 2839
rect 286 1810 296 1914
rect 348 1810 358 1914
rect 457 1810 463 2786
rect 497 1810 503 2786
rect 615 2786 661 2798
rect 615 1914 621 2786
rect 655 1914 661 2786
rect 773 2786 819 2839
rect 602 1810 612 1914
rect 664 1810 674 1914
rect 773 1810 779 2786
rect 813 1810 819 2786
rect 931 2786 977 2798
rect 931 1914 937 2786
rect 971 1914 977 2786
rect 1089 2786 1135 2839
rect 918 1810 928 1914
rect 980 1810 990 1914
rect 1089 1810 1095 2786
rect 1129 1810 1135 2786
rect 1247 2786 1293 2798
rect 1247 1914 1253 2786
rect 1287 1914 1293 2786
rect 1405 2786 1451 2839
rect 1234 1810 1244 1914
rect 1296 1810 1306 1914
rect 1405 1810 1411 2786
rect 1445 1810 1451 2786
rect 1563 2786 1609 2798
rect 1563 1914 1569 2786
rect 1603 1914 1609 2786
rect 1721 2786 1767 2839
rect 1550 1810 1560 1914
rect 1612 1810 1622 1914
rect 1721 1810 1727 2786
rect 1761 1810 1767 2786
rect 1879 2786 1925 2798
rect 1879 1914 1885 2786
rect 1919 1914 1925 2786
rect 2037 2786 2083 2839
rect 1866 1810 1876 1914
rect 1928 1810 1938 1914
rect 2037 1810 2043 2786
rect 2077 1810 2083 2786
rect 2195 2786 2241 2798
rect 2195 1914 2201 2786
rect 2235 1914 2241 2786
rect 2353 2786 2399 2839
rect 2182 1810 2192 1914
rect 2244 1810 2254 1914
rect 2353 1810 2359 2786
rect 2393 1810 2399 2786
rect 2511 2786 2557 2798
rect 2511 1914 2517 2786
rect 2551 1914 2557 2786
rect 2669 2786 2715 2839
rect 2498 1810 2508 1914
rect 2560 1810 2570 1914
rect 2669 1810 2675 2786
rect 2709 1810 2715 2786
rect 2827 2786 2873 2798
rect 2827 1914 2833 2786
rect 2867 1914 2873 2786
rect 2985 2786 3031 2839
rect 2814 1810 2824 1914
rect 2876 1810 2886 1914
rect 2985 1810 2991 2786
rect 3025 1810 3031 2786
rect 3143 2786 3189 2798
rect 3143 1914 3149 2786
rect 3183 1914 3189 2786
rect 3301 2786 3347 2839
rect 3130 1810 3140 1914
rect 3192 1810 3202 1914
rect 3301 1810 3307 2786
rect 3341 1810 3347 2786
rect 141 1757 187 1810
rect 299 1798 345 1810
rect 457 1798 503 1810
rect 615 1798 661 1810
rect 773 1798 819 1810
rect 931 1798 977 1810
rect 1089 1798 1135 1810
rect 1247 1798 1293 1810
rect 1405 1798 1451 1810
rect 1563 1798 1609 1810
rect 1721 1798 1767 1810
rect 1879 1798 1925 1810
rect 2037 1798 2083 1810
rect 2195 1798 2241 1810
rect 2353 1798 2399 1810
rect 2511 1798 2557 1810
rect 2669 1798 2715 1810
rect 2827 1798 2873 1810
rect 2985 1798 3031 1810
rect 3143 1798 3189 1810
rect 3301 1757 3347 1810
rect 3429 1757 3441 2839
rect 47 1751 3441 1757
rect 47 1717 226 1751
rect 260 1717 384 1751
rect 418 1717 542 1751
rect 576 1717 700 1751
rect 734 1717 858 1751
rect 892 1717 1016 1751
rect 1050 1717 1174 1751
rect 1208 1717 1332 1751
rect 1366 1717 1490 1751
rect 1524 1717 1648 1751
rect 1682 1717 1806 1751
rect 1840 1717 1964 1751
rect 1998 1717 2122 1751
rect 2156 1717 2280 1751
rect 2314 1717 2438 1751
rect 2472 1717 2596 1751
rect 2630 1717 2754 1751
rect 2788 1717 2912 1751
rect 2946 1717 3070 1751
rect 3104 1717 3228 1751
rect 3262 1717 3441 1751
rect 47 1711 3441 1717
rect 47 1675 53 1711
rect 7 1663 53 1675
rect 3435 1675 3441 1711
rect 3475 1675 3481 2921
rect 3435 1663 3481 1675
rect -65 1544 3553 1555
rect -65 1440 296 1544
rect 348 1440 612 1544
rect 664 1440 928 1544
rect 980 1440 1244 1544
rect 1296 1440 1560 1544
rect 1612 1440 1876 1544
rect 1928 1440 2192 1544
rect 2244 1440 2508 1544
rect 2560 1440 2824 1544
rect 2876 1440 3140 1544
rect 3192 1440 3553 1544
rect -65 1427 3553 1440
rect 7 1307 53 1319
rect 7 79 13 1307
rect 47 1271 53 1307
rect 3435 1307 3481 1319
rect 3435 1271 3441 1307
rect 47 1265 3441 1271
rect 47 1231 226 1265
rect 260 1231 384 1265
rect 418 1231 542 1265
rect 576 1231 700 1265
rect 734 1231 858 1265
rect 892 1231 1016 1265
rect 1050 1231 1174 1265
rect 1208 1231 1332 1265
rect 1366 1231 1490 1265
rect 1524 1231 1648 1265
rect 1682 1231 1806 1265
rect 1840 1231 1964 1265
rect 1998 1231 2122 1265
rect 2156 1231 2280 1265
rect 2314 1231 2438 1265
rect 2472 1231 2596 1265
rect 2630 1231 2754 1265
rect 2788 1231 2912 1265
rect 2946 1231 3070 1265
rect 3104 1231 3228 1265
rect 3262 1231 3441 1265
rect 47 1225 3441 1231
rect 47 161 53 1225
rect 141 1181 187 1193
rect 299 1181 345 1193
rect 457 1181 503 1193
rect 615 1181 661 1193
rect 773 1181 819 1193
rect 931 1181 977 1193
rect 1089 1181 1135 1193
rect 1247 1181 1293 1193
rect 1405 1181 1451 1193
rect 1563 1181 1609 1193
rect 1721 1181 1767 1193
rect 1879 1181 1925 1193
rect 2037 1181 2083 1193
rect 2195 1181 2241 1193
rect 2353 1181 2399 1193
rect 2511 1181 2557 1193
rect 2669 1181 2715 1193
rect 2827 1181 2873 1193
rect 2985 1181 3031 1193
rect 3143 1181 3189 1193
rect 3301 1181 3347 1225
rect 141 205 147 1181
rect 181 205 187 1181
rect 286 1077 296 1181
rect 348 1077 358 1181
rect 141 161 187 205
rect 299 205 305 1077
rect 339 205 345 1077
rect 299 193 345 205
rect 457 205 463 1181
rect 497 205 503 1181
rect 602 1077 612 1181
rect 664 1077 674 1181
rect 457 161 503 205
rect 615 205 621 1077
rect 655 205 661 1077
rect 615 193 661 205
rect 773 205 779 1181
rect 813 205 819 1181
rect 918 1077 928 1181
rect 980 1077 990 1181
rect 773 161 819 205
rect 931 205 937 1077
rect 971 205 977 1077
rect 931 193 977 205
rect 1089 205 1095 1181
rect 1129 205 1135 1181
rect 1234 1077 1244 1181
rect 1296 1077 1306 1181
rect 1089 161 1135 205
rect 1247 205 1253 1077
rect 1287 205 1293 1077
rect 1247 193 1293 205
rect 1405 205 1411 1181
rect 1445 205 1451 1181
rect 1550 1077 1560 1181
rect 1612 1077 1622 1181
rect 1405 161 1451 205
rect 1563 205 1569 1077
rect 1603 205 1609 1077
rect 1563 193 1609 205
rect 1721 205 1727 1181
rect 1761 205 1767 1181
rect 1866 1077 1876 1181
rect 1928 1077 1938 1181
rect 1721 161 1767 205
rect 1879 205 1885 1077
rect 1919 205 1925 1077
rect 1879 193 1925 205
rect 2037 205 2043 1181
rect 2077 205 2083 1181
rect 2182 1077 2192 1181
rect 2244 1077 2254 1181
rect 2037 161 2083 205
rect 2195 205 2201 1077
rect 2235 205 2241 1077
rect 2195 193 2241 205
rect 2353 205 2359 1181
rect 2393 205 2399 1181
rect 2498 1077 2508 1181
rect 2560 1077 2570 1181
rect 2353 161 2399 205
rect 2511 205 2517 1077
rect 2551 205 2557 1077
rect 2511 193 2557 205
rect 2669 205 2675 1181
rect 2709 205 2715 1181
rect 2814 1077 2824 1181
rect 2876 1077 2886 1181
rect 2669 161 2715 205
rect 2827 205 2833 1077
rect 2867 205 2873 1077
rect 2827 193 2873 205
rect 2985 205 2991 1181
rect 3025 205 3031 1181
rect 3130 1077 3140 1181
rect 3192 1077 3202 1181
rect 2985 161 3031 205
rect 3143 205 3149 1077
rect 3183 205 3189 1077
rect 3143 193 3189 205
rect 3301 205 3307 1181
rect 3341 205 3347 1181
rect 3301 161 3347 205
rect 3435 161 3441 1225
rect 47 155 3441 161
rect 47 121 226 155
rect 260 121 384 155
rect 418 121 542 155
rect 576 121 700 155
rect 734 121 858 155
rect 892 121 1016 155
rect 1050 121 1174 155
rect 1208 121 1332 155
rect 1366 121 1490 155
rect 1524 121 1648 155
rect 1682 121 1806 155
rect 1840 121 1964 155
rect 1998 121 2122 155
rect 2156 121 2280 155
rect 2314 121 2438 155
rect 2472 121 2596 155
rect 2630 121 2754 155
rect 2788 121 2912 155
rect 2946 121 3070 155
rect 3104 121 3228 155
rect 3262 121 3441 155
rect 47 115 3441 121
rect 47 79 53 115
rect 7 67 53 79
rect 3435 79 3441 115
rect 3475 79 3481 1307
rect 3435 67 3481 79
<< via1 >>
rect 296 1810 305 1914
rect 305 1810 339 1914
rect 339 1810 348 1914
rect 612 1810 621 1914
rect 621 1810 655 1914
rect 655 1810 664 1914
rect 928 1810 937 1914
rect 937 1810 971 1914
rect 971 1810 980 1914
rect 1244 1810 1253 1914
rect 1253 1810 1287 1914
rect 1287 1810 1296 1914
rect 1560 1810 1569 1914
rect 1569 1810 1603 1914
rect 1603 1810 1612 1914
rect 1876 1810 1885 1914
rect 1885 1810 1919 1914
rect 1919 1810 1928 1914
rect 2192 1810 2201 1914
rect 2201 1810 2235 1914
rect 2235 1810 2244 1914
rect 2508 1810 2517 1914
rect 2517 1810 2551 1914
rect 2551 1810 2560 1914
rect 2824 1810 2833 1914
rect 2833 1810 2867 1914
rect 2867 1810 2876 1914
rect 3140 1810 3149 1914
rect 3149 1810 3183 1914
rect 3183 1810 3192 1914
rect 296 1440 348 1544
rect 612 1440 664 1544
rect 928 1440 980 1544
rect 1244 1440 1296 1544
rect 1560 1440 1612 1544
rect 1876 1440 1928 1544
rect 2192 1440 2244 1544
rect 2508 1440 2560 1544
rect 2824 1440 2876 1544
rect 3140 1440 3192 1544
rect 296 1077 305 1181
rect 305 1077 339 1181
rect 339 1077 348 1181
rect 612 1077 621 1181
rect 621 1077 655 1181
rect 655 1077 664 1181
rect 928 1077 937 1181
rect 937 1077 971 1181
rect 971 1077 980 1181
rect 1244 1077 1253 1181
rect 1253 1077 1287 1181
rect 1287 1077 1296 1181
rect 1560 1077 1569 1181
rect 1569 1077 1603 1181
rect 1603 1077 1612 1181
rect 1876 1077 1885 1181
rect 1885 1077 1919 1181
rect 1919 1077 1928 1181
rect 2192 1077 2201 1181
rect 2201 1077 2235 1181
rect 2235 1077 2244 1181
rect 2508 1077 2517 1181
rect 2517 1077 2551 1181
rect 2551 1077 2560 1181
rect 2824 1077 2833 1181
rect 2833 1077 2867 1181
rect 2867 1077 2876 1181
rect 3140 1077 3149 1181
rect 3149 1077 3183 1181
rect 3183 1077 3192 1181
<< metal2 >>
rect 296 1914 348 1924
rect 296 1544 348 1810
rect 296 1181 348 1440
rect 296 1067 348 1077
rect 612 1914 664 1924
rect 612 1544 664 1810
rect 612 1181 664 1440
rect 612 1067 664 1077
rect 928 1914 980 1924
rect 928 1544 980 1810
rect 928 1181 980 1440
rect 928 1067 980 1077
rect 1244 1914 1296 1924
rect 1244 1544 1296 1810
rect 1244 1181 1296 1440
rect 1244 1067 1296 1077
rect 1560 1914 1612 1924
rect 1560 1544 1612 1810
rect 1560 1181 1612 1440
rect 1560 1067 1612 1077
rect 1876 1914 1928 1924
rect 1876 1544 1928 1810
rect 1876 1181 1928 1440
rect 1876 1067 1928 1077
rect 2192 1914 2244 1924
rect 2192 1544 2244 1810
rect 2192 1181 2244 1440
rect 2192 1067 2244 1077
rect 2508 1914 2560 1924
rect 2508 1544 2560 1810
rect 2508 1181 2560 1440
rect 2508 1067 2560 1077
rect 2824 1914 2876 1924
rect 2824 1544 2876 1810
rect 2824 1181 2876 1440
rect 2824 1067 2876 1077
rect 3140 1914 3192 1924
rect 3140 1544 3192 1810
rect 3140 1181 3192 1440
rect 3140 1067 3192 1077
<< labels >>
flabel metal1 -54 1487 -54 1487 1 FreeSans 400 0 0 0 esd
port 1 n
flabel metal1 30 2927 30 2927 1 FreeSans 400 0 0 0 VDD
port 2 n power bidirectional
flabel metal1 30 71 30 71 1 FreeSans 400 0 0 0 VSS
port 3 n power bidirectional
<< end >>
